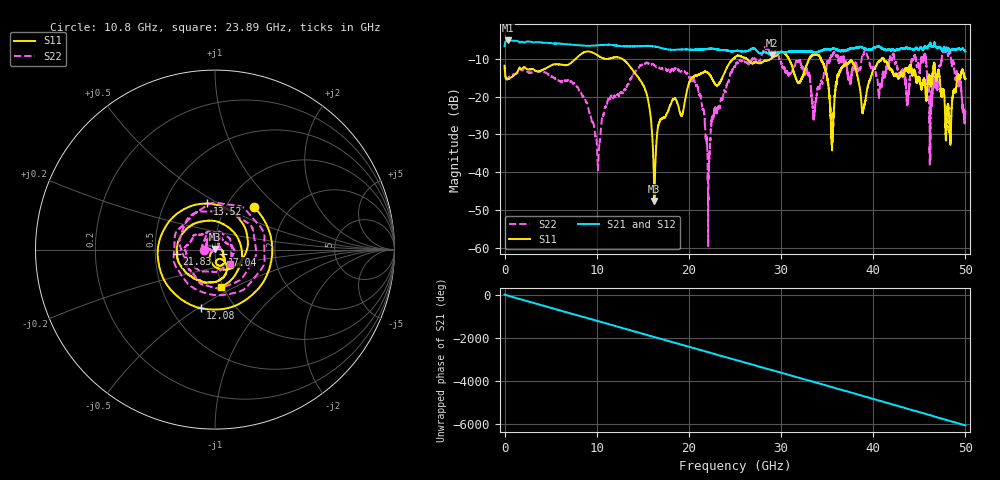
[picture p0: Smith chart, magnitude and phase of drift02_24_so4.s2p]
!Created with skrf (http://scikit-rf.org).
# Hz S RI R 50.0
!freq ReS11 ImS11 ReS21 ImS21 ReS12 ImS12 ReS22 ImS22
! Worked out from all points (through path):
!   10001 points, 300 kHz to 50 GHz, reference 50 ohm
!   highest |S21| = -5.04 dB at 325.3 MHz (marker M1); lowest = -8.9 dB at 28.98 GHz (marker M2)
!   group delay of S21, straight-line fit = 336 ps
!   lowest |S11| = -47.7 dB at 16.25 GHz (marker M3), VSWR 1.01, Z = 49.8 + j0.353 ohm
!   |S11| at or under -10 dB: start of sweep to 7.668 GHz; 12.82 GHz to 24.77 GHz (11.96 GHz wide, 63.6 % of centre); 41.12 GHz to end of sweep (the widest 3 of 8)
!   |S22| runs from -59.6 to -6.7 dB; largest |S21 - S12| = 0.029
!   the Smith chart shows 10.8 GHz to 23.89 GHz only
!   S11 on the Smith chart (normalised r, x): 10.8 GHz: 1.35, +0.71; 12.08 GHz: 0.70, -0.51; 13.52 GHz: 0.81, +0.45; 17.04 GHz: 1.09, -0.06; 21.83 GHz: 0.65, -0.03; 23.89 GHz: 0.98, -0.43
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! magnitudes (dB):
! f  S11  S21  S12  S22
! 300 kHz  -11.7  -6.5  -6.5  -11.6
! 325.3 MHz  -15.4  -5.0  -5.0  -15.1
! 8.335 GHz  -8.6  -6.4  -6.4  -19.1
! 10.11 GHz  -9.0  -6.3  -6.3  -38.3
! 10.8 GHz  -9.9  -6.2  -6.2  -23.9
! 12.08 GHz  -9.5  -6.4  -6.4  -20.3
! 13.52 GHz  -11.7  -6.6  -6.6  -16.1
! 16.25 GHz  -47.7  -6.6  -6.6  -11.7
! 16.67 GHz  -27.6  -6.9  -6.8  -12.2
! 17.04 GHz  -25.8  -7.1  -7.1  -12.5
! 21.83 GHz  -13.4  -7.3  -7.4  -30.3
! 23.89 GHz  -13.5  -7.6  -7.6  -18.6
! 25 GHz  -9.5  -7.9  -7.9  -11.9
! 28.98 GHz  -9.8  -8.9  -8.8  -8.1
! 33.34 GHz  -9.1  -8.0  -8.0  -20.3
! 35.53 GHz  -30.6  -7.3  -7.3  -9.3
! 36.79 GHz  -11.6  -7.9  -8.1  -9.2
! 38.94 GHz  -23.4  -7.1  -7.1  -8.8
! 41.67 GHz  -11.9  -7.4  -7.6  -11.5
! 46.25 GHz  -17.4  -6.1  -6.1  -21.2
! 48.13 GHz  -22.4  -7.2  -7.2  -8.7
! 50 GHz  -15.3  -8.0  -7.9  -23.9
